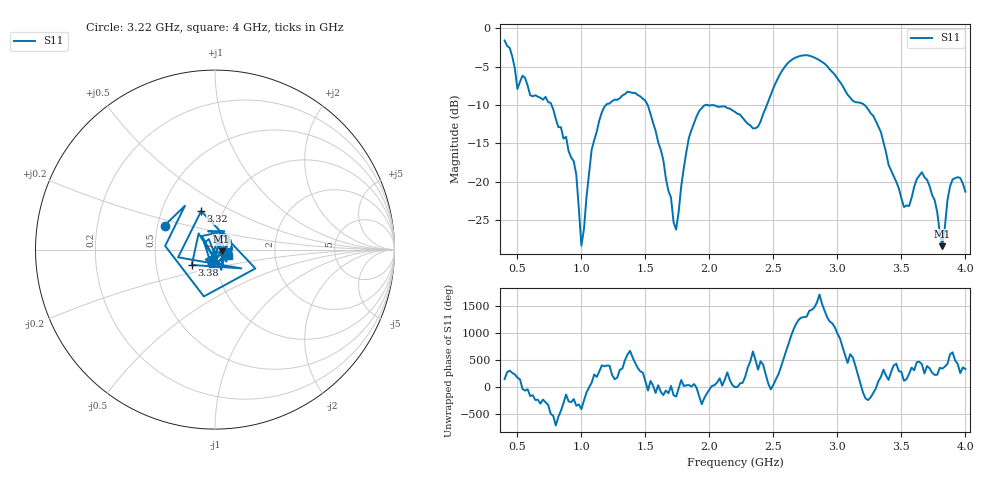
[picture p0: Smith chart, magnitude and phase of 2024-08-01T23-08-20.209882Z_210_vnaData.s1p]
!Created with skrf (http://scikit-rf.org).
# Hz S RI R 50.0
!freq ReS11 ImS11
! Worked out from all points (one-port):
!   181 points, 400 MHz to 4 GHz, reference 50 ohm
!   lowest |S11| = -28.4 dB at 3.82 GHz (marker M1), VSWR 1.08, Z = 53.8 - j1.13 ohm
!   |S11| at or under -10 dB: 1.517 GHz to 1.976 GHz (458.8 MHz wide, 26.3 % of centre); 1.983 GHz to 2.45 GHz (466.4 MHz wide, 21 % of centre); 3.21 GHz to end of sweep (the widest 3 of 4)
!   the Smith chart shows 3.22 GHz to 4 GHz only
!   S11 on the Smith chart (normalised r, x): 3.22 GHz: 0.54, +0.16; 3.32 GHz: 0.79, +0.36; 3.38 GHz: 0.76, -0.13; 4 GHz: 1.17, -0.08
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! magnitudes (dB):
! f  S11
! 400 MHz  -1.6
! 500 MHz  -7.9
! 720 MHz  -8.9
! 860 MHz  -14.4
! 960 MHz  -19.1
! 1 GHz  -28.4
! 1.08 GHz  -15.9
! 1.18 GHz  -10.2
! 1.3 GHz  -9.1
! 1.52 GHz  -10.1
! 1.72 GHz  -25.3
! 1.76 GHz  -23.9
! 1.84 GHz  -14.3
! 1.92 GHz  -10.8
! 2.2 GHz  -10.9
! 2.38 GHz  -12.8
! 2.66 GHz  -3.9
! 2.9 GHz  -4.6
! 3.1 GHz  -9.1
! 3.22 GHz  -10.1
! 3.32 GHz  -12.8
! 3.38 GHz  -16.2
! 3.56 GHz  -23.2
! 3.66 GHz  -18.8
! 3.76 GHz  -22.4
! 3.82 GHz  -28.4
! 3.9 GHz  -19.7
! 4 GHz  -21.3
